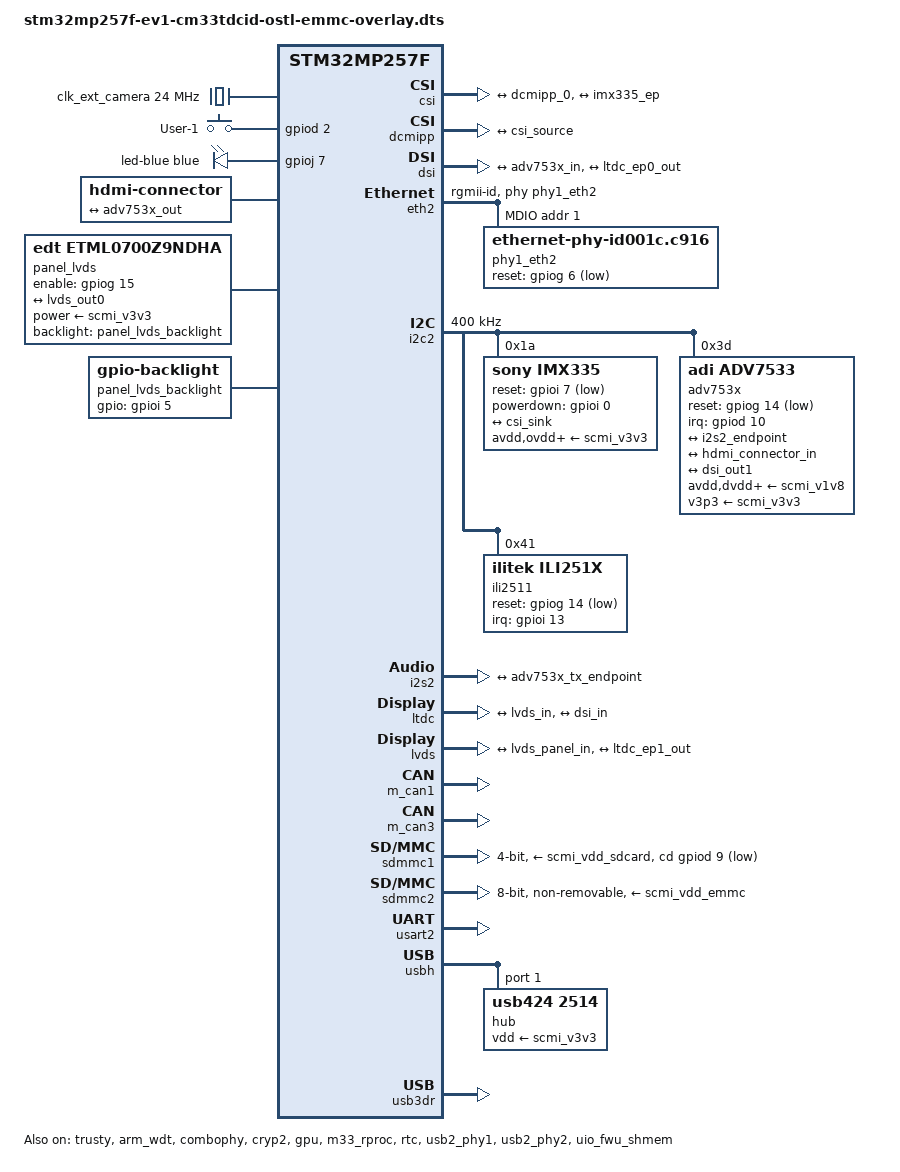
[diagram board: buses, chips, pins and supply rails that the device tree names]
// SPDX-License-Identifier: (GPL-2.0-only OR BSD-3-Clause)
/*
 * Copyright (C) STMicroelectronics 2023 - All Rights Reserved
 * Author: Alexandre Torgue <alexandre.torgue@foss.st.com> for STMicroelectronics.
 */

/dts-v1/;
/plugin/;

#include <dt-bindings/gpio/gpio.h>
#include <dt-bindings/input/input.h>
#include <dt-bindings/leds/common.h>
#include <dt-bindings/regulator/st,stm32mp25-regulator.h>
#include <dt-bindings/clock/st,stm32mp25-rcc.h>
#include <dt-bindings/interrupt-controller/arm-gic.h>
#include <dt-bindings/reset/st,stm32mp25-rcc.h>

#include "stm32mp257f-ev1-cm33tdcid-ostl-resmem-overlay.dtsi"

&{/} {
	model = "STMicroelectronics STM32MP257F-EV1 EMMC CM33TDCID OSTL Evaluation Board";
	compatible = "st,stm32mp257f-ev1-cm33tdcid-ostl-emmc", "st,stm32mp257f-ev1", "st,stm32mp257";

	#address-cells = <2>;
	#size-cells = <2>;

	ca35ss_clk: ca35ss-clk {
		compatible = "st,stm32mp2-ca35ss-clk";
		#clock-cells = <0>;
	};

	cpu0_opp_table: cpu0-opp-table {
		compatible = "operating-points-v2";
		opp-shared;

		opp-1200000000 {
			opp-hz = /bits/ 64 <1200000000>;
			opp-suspend;
		};

		opp-1500000000 {
			opp-hz = /bits/ 64 <1500000000>;
		};
	};

	chosen {
		stdout-path = "serial0:115200n8";
		#address-cells = <2>;
		#size-cells = <2>;
		ranges;

		framebuffer: framebuffer@80b00000 {
			compatible = "simple-framebuffer";
			reg = <0x00 0x80b00000 0x00 (1024 * 600 * 2)>;
			clocks = <&rcc CK_BUS_LTDC>, <&rcc CK_KER_LTDC>,
				 <&rcc CK_BUS_LVDS>, <&rcc CK_KER_LVDSPHY>;
			width = <1024>;
			height = <600>;
			stride = <2048>;
			format = "r5g6b5";
			status = "okay";
		};
	};

	clocks {
		cec_clock: cec-clock {
			compatible = "fixed-clock";
			#clock-cells = <0>;
			clock-frequency = <12000000>;
		};

		clk_ext_camera: clk-ext-camera {
			#clock-cells = <0>;
			compatible = "fixed-clock";
			clock-frequency = <24000000>;
		};

		pad_clk: pad-clk {
			#clock-cells = <0>;
			compatible = "fixed-clock";
			clock-frequency = <100000000>;
		};
	};

	gpio-keys {
		compatible = "gpio-keys";

		button-user-1 {
			label = "User-1";
			linux,code = <BTN_1>;
			gpios = <&gpiod 2 GPIO_ACTIVE_HIGH>;
			status = "okay";
		};

		button-user-2 {
			label = "User-2";
			linux,code = <BTN_2>;
			gpios = <&gpiog 8 GPIO_ACTIVE_HIGH>;
			status = "disabled";
		};
	};

	gpio-leds {
		compatible = "gpio-leds";

		led-blue {
			function = LED_FUNCTION_HEARTBEAT;
			color = <LED_COLOR_ID_BLUE>;
			gpios = <&gpioj 7 GPIO_ACTIVE_HIGH>;
			linux,default-trigger = "heartbeat";
			default-state = "off";
		};
	};

	hdmi: connector {
		compatible = "hdmi-connector";
		label = "hdmi";
		type = "a";

		port {
			hdmi_connector_in: endpoint {
				remote-endpoint = <&adv753x_out>;
			};
		};
	};

	memory@80000000 {
		device_type = "memory";
		reg = <0x0 0x80000000 0x1 0x0>;
	};

	panel_lvds: panel-lvds {
		compatible = "edt,etml0700z9ndha", "panel-lvds";
		enable-gpios = <&gpiog 15 GPIO_ACTIVE_HIGH>;
		backlight = <&panel_lvds_backlight>;
		power-supply = <&scmi_v3v3>;
		status = "okay";

		width-mm = <156>;
		height-mm = <92>;
		data-mapping = "vesa-24";

		panel-timing {
			clock-frequency = <54000000>;
			hactive = <1024>;
			vactive = <600>;
			hfront-porch = <150>;
			hback-porch = <150>;
			hsync-len = <21>;
			vfront-porch = <24>;
			vback-porch = <24>;
			vsync-len = <21>;
		};

		port {
			lvds_panel_in: endpoint {
				remote-endpoint = <&lvds_out0>;
			};
		};
	};

	panel_lvds_backlight: panel-lvds-backlight {
		compatible = "gpio-backlight";
		gpios = <&gpioi 5 GPIO_ACTIVE_HIGH>;
		default-on;
		status = "okay";
	};

	sound: sound {
		compatible = "audio-graph-card";
		label = "STM32MP25-EV1";
		dais = <&i2s2_port>;
		status = "disabled";
	};

	uio_fwu_shmem: uio-fwu-shmem@81300000 {
		compatible = "uio-fwu-shmem";
		reg = <0x0 0x81300000 0x0 0x00a00000>;
		status = "okay";
	};

	vdiv_ana0: voltage-divider-ana0 {
		compatible = "voltage-divider";
		io-channels = <&adc1 0>;
		output-ohms = <560000>;
		full-ohms = <1030000>;
		status = "disabled";
	};

	aliases {
		serial2 = "/soc@0/bus@42080000/serial@46030000";
		serial1 = "/soc@0/bus@42080000/serial@40220000";
		serial0 = "/soc@0/bus@42080000/serial@400e0000";
		ethernet0 = "/soc@0/bus@42080000/eth2@482d0000";
	};

};

&optee {
	status = "disabled";
};

&trusty {
	status = "okay";
};

&adc_12 {
	/* Don't need a pinctrl for ANA0 dedicated pin e.g. Channel@0 */
	vdda-supply = <&scmi_v1v8>;
	vref-supply = <&scmi_v1v8>;
	status = "disabled";
	adc1: adc@0 {
		#address-cells = <1>;
		#size-cells = <0>;
		#io-channel-cells = <1>;
		status = "okay";
		channel@0 {
			reg = <0>;
			st,min-sample-time-ns = <400>;
		};
	};
};

&scmi {
	compatible = "arm,scmi";
	#address-cells = <1>;
	#size-cells = <0>;
	mboxes = <&ipcc1 0x10f>;
	mbox-names = "tx";
	shmem = <&scmi_cid1_ns>;
};

&arm_wdt {
	timeout-sec = <32>;
	status = "okay";
};

&bsec {
	memory-region = <&bsec_mirror >;
};

&combophy {
	clocks = <&rcc CK_BUS_USB3PCIEPHY>, <&rcc CK_KER_USB3PCIEPHY>, <&pad_clk>;
	clock-names = "apb-clk", "ker-clk", "pad-clk";
	st,rx_equalizer = <1>;
	status = "okay";
};

&cpu0 {
	operating-points-v2 = <&cpu0_opp_table>;
	clocks = <&ca35ss_clk>;
	power-domains = <&cpu0_pd>;
	power-domain-names = "psci";
};

&cpu1 {
	operating-points-v2 = <&cpu0_opp_table>;
	clocks = <&ca35ss_clk>;
	power-domains = <&cpu1_pd>;
	power-domain-names = "psci";
};

&crc {
	status = "disabled";
};

&cryp2 {
	dmas = <&hpdma 140 0x40 0x3021 0x0>,
	       <&hpdma 141 0x43 0x3012 0x0>;
	dma-names = "in", "out";
	status = "okay";
};

&csi {
	vdd-supply =  <&scmi_vddcore>;
	vdda18-supply = <&scmi_v1v8>;
	status = "okay";
	ports {
		#address-cells = <1>;
		#size-cells = <0>;
		port@1 {
			reg = <1>;
			csi_source: endpoint {
				remote-endpoint = <&dcmipp_0>;
			};
		};
		port@0 {
			reg = <0>;
			csi_sink: endpoint {
				remote-endpoint = <&imx335_ep>;
				data-lanes = <1 2>;
				bus-type = <4>;
			};
		};
	};
};

&dcmipp {
	status = "okay";
	port {
		dcmipp_0: endpoint {
			remote-endpoint = <&csi_source>;
			bus-type = <4>;
		};
	};
};

&dsi {
	vdd-supply =  <&scmi_vddcore>;
	vdda18-supply = <&scmi_v1v8>;
	status = "okay";

	ports {
		#address-cells = <1>;
		#size-cells = <0>;

		port@1 {
			reg = <1>;
			dsi_out1: endpoint {
				remote-endpoint = <&adv753x_in>;
			};
		};

		port@0 {
			reg = <0>;
			dsi_in: endpoint {
				remote-endpoint = <&ltdc_ep0_out>;
			};
		};
	};
};

&eth1 {
	status = "disabled";
	pinctrl-0 = <&eth1_rgmii_pins_a &eth1_mdio_pins_a>;
	pinctrl-1 = <&eth1_rgmii_sleep_pins_a &eth1_mdio_sleep_pins_a>;
	pinctrl-names = "default", "sleep";
	phy-mode = "rgmii-id";
	max-speed = <1000>;
	phy-handle = <&phy1_eth1>;
	st,eth-clk-sel;
	snps,ext-systime;

	mdio1 {
		#address-cells = <1>;
		#size-cells = <0>;
		compatible = "snps,dwmac-mdio";
		phy1_eth1: ethernet-phy@4 {
			compatible = "ethernet-phy-id001c.c916";
			reset-gpios =  <&gpioj 9 GPIO_ACTIVE_LOW>;
			reset-assert-us = <10000>;
			reset-deassert-us = <80000>;
			realtek,eee-disable;
			reg = <4>;
		};
	};
};

&eth2 {
	status = "okay";
	pinctrl-0 = <&eth2_rgmii_pins_a>;
	pinctrl-1 = <&eth2_rgmii_sleep_pins_a>;
	pinctrl-names = "default", "sleep";
	phy-mode = "rgmii-id";
	max-speed = <1000>;
	phy-handle = <&phy1_eth2>;
	st,eth-ptp-from-rcc;

	mdio1 {
		#address-cells = <1>;
		#size-cells = <0>;
		compatible = "snps,dwmac-mdio";
		phy1_eth2: ethernet-phy@1 {
			compatible = "ethernet-phy-id001c.c916";
			reset-gpios =  <&gpiog 6 GPIO_ACTIVE_LOW>;
			reset-assert-us = <10000>;
			reset-deassert-us = <80000>;
			realtek,eee-disable;
			reg = <1>;
		};
	};
};

&gpu {
	contiguous-area = <&gpu_reserved>;
	status = "okay";
};

/*
 * cm33tdcid: SYSRAM is owned by the M33 (CID2/TDCID) and protected by RISAB1/2.
 * The A35 (CID1) HPDMA cannot fetch its linked-list descriptors from SYSRAM
 * (hpdma1_lli@a020000) without an IAC illegal-access reset (IDs 128/129) when
 * audio DMA runs. With no memory-region the stm32-dma3 driver allocates the LLI
 * pool from DDR (RISAF4 linuxkernel1, CID1-owned) instead. See stm32-dma3.c
 * stm32_dma3_lli_pool_create(): no memory-region => fallback dma_pool in DDR.
 */

&hpdma2 {
	memory-region = <&hpdma2_lli>;
};

&hpdma3 {
	status = "disabled";
};

&i2c2 {
	pinctrl-names = "default", "sleep";
	pinctrl-0 = <&i2c2_pins_a>;
	pinctrl-1 = <&i2c2_sleep_pins_a>;
	i2c-scl-rising-time-ns = <100>;
	i2c-scl-falling-time-ns = <13>;
	clock-frequency = <400000>;
	status = "okay";
	#address-cells = <1>;
	#size-cells = <0>;

	imx335: camera@1a {
		compatible = "sony,imx335";
		reg = <0x1a>;
		clocks = <&clk_ext_camera>;
		avdd-supply = <&scmi_v3v3>;
		ovdd-supply = <&scmi_v3v3>;
		dvdd-supply = <&scmi_v3v3>;
		reset-gpios = <&gpioi 7 (GPIO_ACTIVE_LOW | GPIO_PUSH_PULL)>;
		powerdown-gpios = <&gpioi 0 (GPIO_ACTIVE_HIGH | GPIO_PUSH_PULL)>;
		status = "okay";

		port {
			imx335_ep: endpoint {
				remote-endpoint = <&csi_sink>;
				clock-lanes = <0>;
				data-lanes = <1 2>;
				link-frequencies = /bits/ 64 <594000000>;
			};
		};
	};

	adv753x: hdmi@3d {
		/*
		 * With MB1232 board, use "adi,adv7533" (1080p30)
		 * With MB1752 board, use "adi,adv7535" (1080p60)
		 */
		compatible = "adi,adv7533";
		reg = <0x3d>, <0x3c>, <0x3f>, <0x38>;
		reg-names = "main", "cec", "edid", "packet";
		clocks = <&cec_clock>;
		clock-names = "cec";
		interrupt-parent = <&gpiod>;
		interrupts = <10 IRQ_TYPE_EDGE_FALLING>;
		status = "okay";
		adi,dsi-lanes = <4>;
		reset-gpios = <&gpiog 14 GPIO_ACTIVE_LOW>;
		avdd-supply = <&scmi_v1v8>;
		dvdd-supply = <&scmi_v1v8>;
		pvdd-supply = <&scmi_v1v8>;
		a2vdd-supply = <&scmi_v1v8>;
		v3p3-supply = <&scmi_v3v3>;
		v1p2-supply = <&scmi_v1v8>;

		ports {
			#address-cells = <1>;
			#size-cells = <0>;

			port@2 {
				reg = <2>;
				adv753x_tx_endpoint: endpoint {
					remote-endpoint = <&i2s2_endpoint>;
				};
			};

			port@1 {
				reg = <1>;
				adv753x_out: endpoint {
					remote-endpoint = <&hdmi_connector_in>;
				};
			};

			port@0 {
				reg = <0>;
				adv753x_in: endpoint {
					remote-endpoint = <&dsi_out1>;
				};
			};
		};
	};

	ili2511: ili2511@41 {
		compatible = "ilitek,ili251x";
		reg = <0x41>;
		interrupt-parent = <&gpioi>;
		interrupts = <13 IRQ_TYPE_EDGE_FALLING>;
		reset-gpios = <&gpiog 14 GPIO_ACTIVE_LOW>;
		status = "okay";
	};
};

&i2c8 {
	pinctrl-names = "default", "sleep";
	pinctrl-0 = <&i2c8_pins_a>;
	pinctrl-1 = <&i2c8_sleep_pins_a>;
	i2c-scl-rising-time-ns = <57>;
	i2c-scl-falling-time-ns = <7>;
	clock-frequency = <400000>;
	status = "disabled";
};

&i2s2 {
	pinctrl-names = "default", "sleep";
	pinctrl-0 = <&i2s2_pins_a>;
	pinctrl-1 = <&i2s2_sleep_pins_a>;
	dmas = <&hpdma 51 0x43 0x12>,
	       <&hpdma 52 0x43 0x21>;
	dma-names = "rx", "tx";
	status = "okay";

	i2s2_port: port {
		i2s2_endpoint: endpoint {
			remote-endpoint = <&adv753x_tx_endpoint>;
			format = "i2s";
			mclk-fs = <256>;
		};
	};
};

&ipcc1 {
	status = "okay";
};

&lpuart1 {
	pinctrl-names = "default", "idle", "sleep";
	pinctrl-0 = <&lpuart1_pins_a>;
	pinctrl-1 = <&lpuart1_idle_pins_a>;
	pinctrl-2 = <&lpuart1_sleep_pins_a>;
	uart-has-rtscts;
	status = "disabled";
};

&ltdc {
	rotation-memory = <&ltdc_sec_rotation>;
	status = "okay";

	port {
		#address-cells = <1>;
		#size-cells = <0>;

		ltdc_ep1_out: endpoint@1 {
			reg = <1>;
			remote-endpoint = <&lvds_in>;
		};

		ltdc_ep0_out: endpoint@0 {
			reg = <0>;
			remote-endpoint = <&dsi_in>;
		};

	};
};

&lvds {
	vdd-supply =  <&scmi_vddcore>;
	vdda18-supply = <&scmi_v1v8>;
	status = "okay";

	ports {
		#address-cells = <1>;
		#size-cells = <0>;

		port@1 {
			reg = <1>;
			lvds_out0: endpoint {
				remote-endpoint = <&lvds_panel_in>;
			};
		};

		port@0 {
			reg = <0>;
			lvds_in: endpoint {
				remote-endpoint = <&ltdc_ep1_out>;
			};
		};

	};
};

&m_can1 {
	pinctrl-names = "default", "sleep";
	pinctrl-0 = <&m_can1_pins_a>;
	pinctrl-1 = <&m_can1_sleep_pins_a>;
	status = "okay";
};

&m_can3 {
	pinctrl-names = "default", "sleep";
	pinctrl-0 = <&m_can3_pins_a>;
	pinctrl-1 = <&m_can3_sleep_pins_a>;
	status = "okay";
};

&m33_rproc {
	mboxes = <&ipcc1 0x100>, <&ipcc1 0x101>;
	mbox-names = "vq0", "vq1";
	nvmem-cells = <&rsc_tbl_addr_m33td>, <&rsc_tbl_size_m33td>;
	memory-region = <&ipc_shmem_1>, <&vdev0vring0>,
			<&vdev0vring1>, <&vdev0buffer>;
	st,auto-boot;
	status = "okay";
	};

&nvram {
	nvmem-layout {
		rsc_tbl_addr_m33td: tamp-bkp@1e4 {
			reg = <0x1e4 0x4>;
		};
		rsc_tbl_size_m33td: tamp-bkp@1e8 {
			reg = <0x1e8 0x4>;
		};
	};
};

&pcie_ep {
	pinctrl-names = "default", "init";
	pinctrl-0 = <&pcie_pins_a>;
	pinctrl-1 = <&pcie_init_pins_a>;
	reset-gpios = <&gpioj 8 GPIO_ACTIVE_LOW>;
	status = "disabled";
};

&pcie_rc {
	pinctrl-names = "default", "init", "sleep";
	pinctrl-0 = <&pcie_pins_a>;
	pinctrl-1 = <&pcie_init_pins_a>;
	pinctrl-2 = <&pcie_sleep_pins_a>;
	reset-gpios = <&gpioj 8 GPIO_ACTIVE_LOW>;
	wakeup-source;
	wake-gpios = <&gpioh 5 (GPIO_ACTIVE_LOW | GPIO_PULL_UP)>;
	status = "disabled";
};

&rtc {
	status = "okay";
};

&scmi_regu {
	#address-cells = <1>;
	#size-cells = <0>;

	scmi_vddio1: regulator@0 {
		regulator-min-microvolt = <1800000>;
		regulator-max-microvolt = <3300000>;
	};
	scmi_vddcore: regulator@b {
		reg = <VOLTD_SCMI_STPMIC2_BUCK2>;
		regulator-name = "vddcore";
	};
	scmi_v1v8: regulator@e {
		reg = <VOLTD_SCMI_STPMIC2_BUCK5>;
		regulator-name = "v1v8";
	};
	scmi_v3v3: regulator@10 {
		reg = <VOLTD_SCMI_STPMIC2_BUCK7>;
		regulator-name = "v3v3";
	};
	scmi_vdd_emmc: regulator@12 {
		reg = <VOLTD_SCMI_STPMIC2_LDO2>;
		regulator-name = "vdd_emmc";
	};
	scmi_vdd3v3_usb: regulator@14 {
		reg = <VOLTD_SCMI_STPMIC2_LDO4>;
		regulator-name = "vdd3v3_usb";
	};
	scmi_vdd_sdcard: regulator@17 {
		reg = <VOLTD_SCMI_STPMIC2_LDO7>;
		regulator-name = "vdd_sdcard";
	};
};

&scmi_vddio2 {
	status = "okay";
};

&sdmmc1 {
	pinctrl-names = "default", "opendrain", "sleep";
	pinctrl-0 = <&sdmmc1_b4_pins_a>;
	pinctrl-1 = <&sdmmc1_b4_od_pins_a>;
	pinctrl-2 = <&sdmmc1_b4_sleep_pins_a>;
	cd-gpios = <&gpiod 9 (GPIO_ACTIVE_LOW | GPIO_PULL_UP)>;
	disable-wp;
	st,neg-edge;
	bus-width = <4>;
	vmmc-supply = <&scmi_vdd_sdcard>;
	vqmmc-supply = <&scmi_vddio1>;
	sd-uhs-sdr12;
	sd-uhs-sdr25;
	sd-uhs-sdr50;
	sd-uhs-ddr50;
	sd-uhs-sdr104;
	status = "okay";
};

&sdmmc2 {
	pinctrl-names = "default", "opendrain", "sleep";
	pinctrl-0 = <&sdmmc2_b4_pins_a &sdmmc2_d47_pins_a>;
	pinctrl-1 = <&sdmmc2_b4_od_pins_a &sdmmc2_d47_pins_a>;
	pinctrl-2 = <&sdmmc2_b4_sleep_pins_a &sdmmc2_d47_sleep_pins_a>;
	non-removable;
	no-sd;
	no-sdio;
	st,neg-edge;
	bus-width = <8>;
	vmmc-supply = <&scmi_vdd_emmc>;
	vqmmc-supply = <&scmi_vddio2>;
	mmc-ddr-1_8v;
	mmc-hs200-1_8v;
	status = "okay";
};

&sdmmc3 {
	pinctrl-names = "default", "opendrain", "sleep";
	pinctrl-0 = <&sdmmc3_b4_pins_a>;
	pinctrl-1 = <&sdmmc3_b4_od_pins_a>;
	pinctrl-2 = <&sdmmc3_b4_sleep_pins_a>;
	broken-cd;
	disable-wp;
	st,neg-edge;
	bus-width = <4>;
	vmmc-supply = <&scmi_v3v3>;
	status = "disabled";
};

&spi3 {
	pinctrl-names = "default", "sleep";
	pinctrl-0 = <&spi3_pins_a>;
	pinctrl-1 = <&spi3_sleep_pins_a>;
	dmas = <&hpdma 53 0x20 0x00003012>,
	       <&hpdma 54 0x20 0x00003021>;
	dma-names = "rx", "tx";
	status = "disabled";
};

&spi8 {
	pinctrl-names = "default", "sleep";
	pinctrl-0 = <&spi8_pins_a>;
	pinctrl-1 = <&spi8_sleep_pins_a>;
	dmas = <&hpdma 171 0x20 0x00003012>,
	       <&hpdma 172 0x20 0x00003021>;
	dma-names = "rx", "tx";
	status = "disabled";
};

&switch0 {
	status = "disabled";
	pinctrl-0 = <&eth1_rgmii_pins_a>, <&eth3_rgmii_pins_a>;
	pinctrl-1 = <&eth1_rgmii_sleep_pins_a>, <&eth3_rgmii_sleep_pins_a>;
	pinctrl-names = "default", "sleep";
	phy-mode = "rgmii";
	st,ethsw-internal-125;
};

&usart2 {
	pinctrl-names = "default", "idle", "sleep";
	pinctrl-0 = <&usart2_pins_a>;
	pinctrl-1 = <&usart2_idle_pins_a>;
	pinctrl-2 = <&usart2_sleep_pins_a>;
	status = "okay";
};

&usart6 {
	pinctrl-names = "default", "idle", "sleep";
	pinctrl-0 = <&usart6_pins_a>;
	pinctrl-1 = <&usart6_idle_pins_a>;
	pinctrl-2 = <&usart6_sleep_pins_a>;
	uart-has-rtscts;
	dmas = <&hpdma 19 0x20 0x10012>,
	       <&hpdma 20 0x20 0x3021>;
	dma-names = "rx", "tx";
	status = "disabled";
};

&usb2_phy1 {
	vdd33-supply = <&scmi_vdd3v3_usb>;
	status = "okay";
};

&usb2_phy2 {
	vdd33-supply = <&scmi_vdd3v3_usb>;
	status = "okay";
};

&usbh {
	status = "okay";

	usbh_ehci: usb@482f0000 {
		#address-cells = <1>;
		#size-cells = <0>;
		/* onboard HUB */
		hub@1 {
			compatible = "usb424,2514";
			reg = <1>;
			vdd-supply = <&scmi_v3v3>;
		};
	};

	usbh_ohci: usb@482e0000 {
		status = "disabled";
	};
};

&usb3dr {
	status = "okay";

	dwc3: usb@48300000 {
		maximum-speed = "high-speed";
		role-switch-default-mode = "peripheral";
		usb-role-switch;
	};
};
